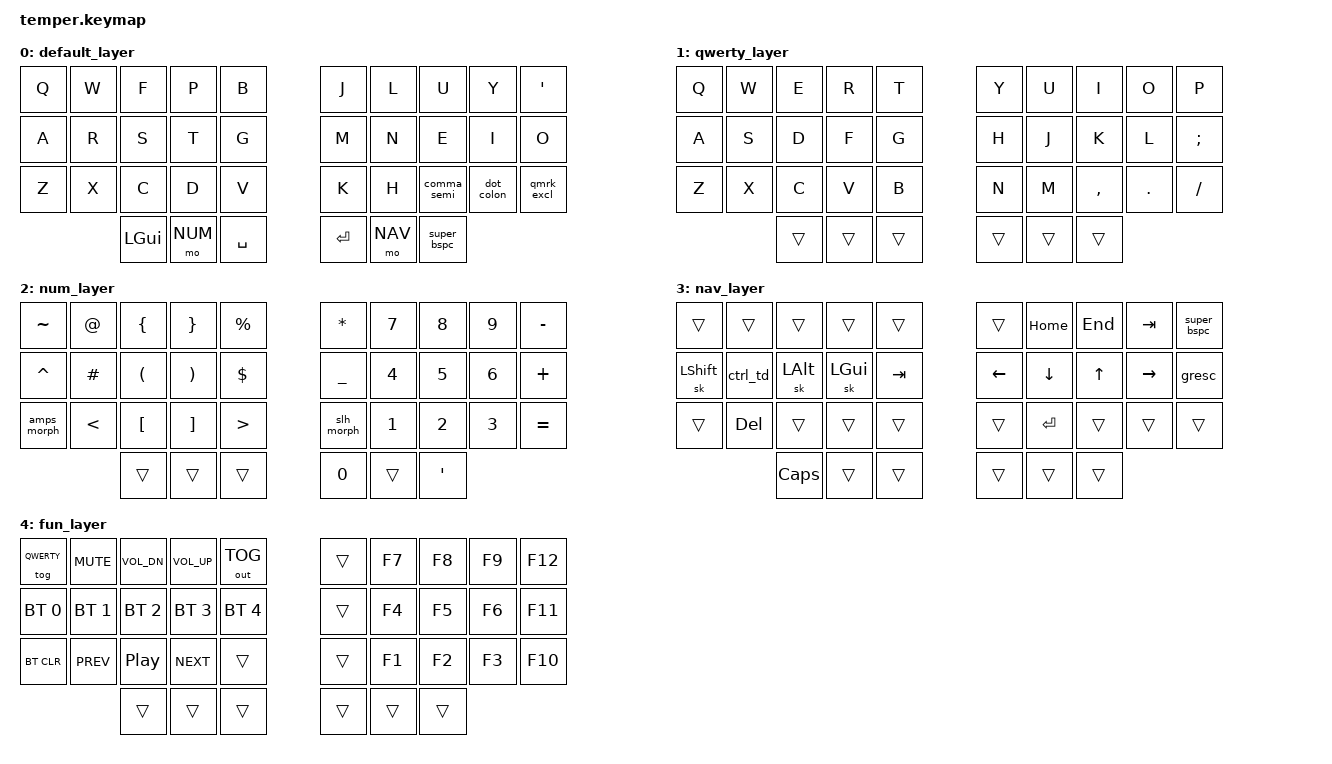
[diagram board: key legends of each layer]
/*
 * Copyright (c) 2020 The ZMK Contributors
 *
 * SPDX-License-Identifier: MIT
 */

#include <behaviors.dtsi>
#include <dt-bindings/zmk/keys.h>
#include <dt-bindings/zmk/bt.h>
#include <dt-bindings/zmk/outputs.h>

#define DEFAULT 0
#define QWERTY 1
#define NUM 2
#define NAV 3
#define FUN 4

/ {
    conditional_layers {
        compatible = "zmk,conditional-layers";
        tri_layer {
            if-layers = <NUM NAV>;
            then-layer = <FUN>;
        };
    };
    behaviors {
        bspc_del: backspace_delete {
            compatible = "zmk,behavior-mod-morph";
            #binding-cells = <0>;
            bindings = <&kp BACKSPACE>, <&kp DELETE>;
            mods = <(MOD_LSFT|MOD_RSFT)>;
            keep-mods = <(MOD_RSFT)>;
        };
        super_bspc: super_backspace {
            compatible = "zmk,behavior-mod-morph";
            #binding-cells = <0>;
            bindings = <&kp BACKSPACE>, <&kp LA(BACKSPACE)>;
            mods = <(MOD_LSFT|MOD_RSFT)>;
        };
        smart_shft: smart_shift {
            compatible = "zmk,behavior-mod-morph";
            #binding-cells = <0>;
            bindings = <&kp LSHFT>, <&caps_word>;
            mods = <(MOD_LSFT)>;
        };
        comma_semi: comma_semi {
            compatible = "zmk,behavior-mod-morph";
            #binding-cells = <0>;
            bindings = <&kp COMMA>, <&kp SEMI>;
            mods = <(MOD_LSFT)>;
        };
        dot_colon: dot_colon {
            compatible = "zmk,behavior-mod-morph";
            #binding-cells = <0>;
            bindings = <&kp DOT>, <&kp COLON>;
            mods = <(MOD_LSFT)>;
        };
        qmrk_excl: qmrk_excl {
            compatible = "zmk,behavior-mod-morph";
            #binding-cells = <0>;
            bindings = <&kp QMARK>, <&kp EXCL>;
            mods = <(MOD_LSFT)>;
        };
        slh_morph: slh_morph {
            compatible = "zmk,behavior-mod-morph";
            #binding-cells = <0>;
            bindings = <&kp FSLH>, <&kp BSLH>;
            mods = <(MOD_LSFT)>;
        };
        amps_morph: amps_morph {
            compatible = "zmk,behavior-mod-morph";
            #binding-cells = <0>;
            bindings = <&kp AMPS>, <&kp PIPE>;
            mods = <(MOD_LSFT)>;
        };
        ctrl_td: ctrl_tap_dance {
            compatible = "zmk,behavior-tap-dance";
            #binding-cells = <0>;
            tapping-term-ms = <200>;
            bindings = <&sk LCTRL>, <&kt LCTRL>;
        };
    };

    combos {
    compatible = "zmk,combos";

    combo_question {
        timeout-ms = <80>;
        key-positions = <34 35>;
        bindings = <&kp LC(BACKSPACE)>;
    };
};
        keymap {
                compatible = "zmk,keymap";

                default_layer {
                        bindings = <
// ╭─────────────┬─────────────┬─────────────┬─────────────┬─────────────╮   ╭─────────────┬─────────────┬─────────────┬─────────────┬─────────────╮
        &kp Q         &kp W         &kp F         &kp P         &kp B             &kp J         &kp L         &kp U         &kp Y       &kp APOS   
// ├─────────────┼─────────────┼─────────────┼─────────────┼─────────────┤   ├─────────────┼─────────────┼─────────────┼─────────────┼─────────────┤
        &kp A         &kp R         &kp S         &kp T         &kp G             &kp M         &kp N         &kp E         &kp I         &kp O
// ├─────────────┼─────────────┼─────────────┼─────────────┼─────────────┤   ├─────────────┼─────────────┼─────────────┼─────────────┼─────────────┤
        &kp Z         &kp X         &kp C         &kp D         &kp V             &kp K         &kp H      &comma_semi    &dot_colon    &qmrk_excl
// ╰─────────────┴─────────────┼─────────────┼─────────────┼─────────────┤   ├─────────────┼─────────────┼─────────────┼─────────────┴─────────────╯
                                   &kp LGUI      &mo NUM     &kp SPACE          &kp ENTER      &mo NAV     &super_bspc
//                             ╰─────────────┴─────────────┴─────────────╯   ╰─────────────┴─────────────┴─────────────╯
                        >;
                };
                qwerty_layer {
                        bindings = <
// ╭─────────────┬─────────────┬─────────────┬─────────────┬─────────────╮   ╭─────────────┬─────────────┬─────────────┬─────────────┬─────────────╮
        &kp Q         &kp W         &kp E         &kp R         &kp T              &kp Y        &kp U         &kp I         &kp O         &kp P   
// ├─────────────┼─────────────┼─────────────┼─────────────┼─────────────┤   ├─────────────┼─────────────┼─────────────┼─────────────┼─────────────┤
        &kp A         &kp S         &kp D         &kp F         &kp G              &kp H        &kp J         &kp K         &kp L       &kp SEMI
// ├─────────────┼─────────────┼─────────────┼─────────────┼─────────────┤   ├─────────────┼─────────────┼─────────────┼─────────────┼─────────────┤
        &kp Z         &kp X         &kp C         &kp V         &kp B              &kp N        &kp M       &kp COMMA      &kp DOT      &kp FSLH
// ╰─────────────┴─────────────┼─────────────┼─────────────┼─────────────┤   ├─────────────┼─────────────┼─────────────┼─────────────┴─────────────╯
                                    &trans        &trans        &trans             &trans       &trans        &trans
//                             ╰─────────────┴─────────────┴─────────────╯   ╰─────────────┴─────────────┴─────────────╯
                        >;
                };
                num_layer {
                        bindings = <
// ╭─────────────┬─────────────┬─────────────┬─────────────┬─────────────╮   ╭─────────────┬─────────────┬─────────────┬─────────────┬─────────────╮
      &kp TILDE       &kp AT       &kp LBRC      &kp RBRC     &kp PRCNT          &kp STAR       &kp N7        &kp N8        &kp N9      &kp MINUS
// ├─────────────┼─────────────┼─────────────┼─────────────┼─────────────┤   ├─────────────┼─────────────┼─────────────┼─────────────┼─────────────┤
      &kp CARET      &kp HASH      &kp LPAR      &kp RPAR      &kp DLLR         &kp UNDER       &kp N4        &kp N5        &kp N6      &kp PLUS
// ├─────────────┼─────────────┼─────────────┼─────────────┼─────────────┤   ├─────────────┼─────────────┼─────────────┼─────────────┼─────────────┤
      &amps_morph     &kp LT       &kp LBKT      &kp RBKT       &kp GT          &slh_morph      &kp N1        &kp N2        &kp N3      &kp EQUAL
// ╰─────────────┴─────────────┼─────────────┼─────────────┼─────────────┤   ├─────────────┼─────────────┼─────────────┼─────────────┴─────────────╯
                                    &trans        &trans        &trans            &kp N0        &trans        &kp APOS
//                             ╰─────────────┴─────────────┴─────────────╯   ╰─────────────┴─────────────┴─────────────╯
                        >;
                };

                nav_layer {
                        bindings = <
// ╭─────────────┬─────────────┬─────────────┬─────────────┬─────────────╮   ╭─────────────┬─────────────┬─────────────┬─────────────┬─────────────╮
        &trans        &trans        &trans        &trans        &trans            &trans       &kp HOME      &kp END       &kp TAB     &super_bspc
// ├─────────────┼─────────────┼─────────────┼─────────────┼─────────────┤   ├─────────────┼─────────────┼─────────────┼─────────────┼─────────────┤
      &sk LSHFT     &ctrl_td        &sk LALT      &sk LGUI      &kp TAB           &kp LEFT      &kp DOWN       &kp UP      &kp RIGHT       &gresc
// ├─────────────┼─────────────┼─────────────┼─────────────┼─────────────┤   ├─────────────┼─────────────┼─────────────┼─────────────┼─────────────┤
        &trans       &kp DEL        &trans        &trans        &trans            &trans        &kp RET       &trans        &trans        &trans
// ╰─────────────┴─────────────┼─────────────┼─────────────┼─────────────┤   ├─────────────┼─────────────┼─────────────┼─────────────┴─────────────╯
                                    &kp CAPS       &trans        &trans            &trans        &trans        &trans
//                             ╰─────────────┴─────────────┴─────────────╯   ╰─────────────┴─────────────┴─────────────╯
                        >;
                };

                fun_layer {
                        bindings = <
// ╭─────────────┬─────────────┬─────────────┬─────────────┬─────────────╮   ╭─────────────┬─────────────┬─────────────┬─────────────┬─────────────╮
     &tog QWERTY   &kp K_MUTE    &kp C_VOL_DN  &kp C_VOL_UP  &out OUT_TOG         &trans        &kp F7        &kp F8        &kp F9       &kp F12
// ├─────────────┼─────────────┼─────────────┼─────────────┼─────────────┤   ├─────────────┼─────────────┼─────────────┼─────────────┼─────────────┤
     &bt BT_SEL 0  &bt BT_SEL 1  &bt BT_SEL 2  &bt BT_SEL 3  &bt BT_SEL 4         &trans        &kp F4        &kp F5        &kp F6       &kp F11
// ├─────────────┼─────────────┼─────────────┼─────────────┼─────────────┤   ├─────────────┼─────────────┼─────────────┼─────────────┼─────────────┤
      &bt BT_CLR    &kp C_PREV     &kp C_PP     &kp C_NEXT      &trans            &trans        &kp F1        &kp F2        &kp F3       &kp F10
// ╰─────────────┴─────────────┼─────────────┼─────────────┼─────────────┤   ├─────────────┼─────────────┼─────────────┼─────────────┴─────────────╯
                                    &trans        &trans        &trans            &trans        &trans        &trans
//                             ╰─────────────┴─────────────┴─────────────╯   ╰─────────────┴─────────────┴─────────────╯
                        >;
                };
        };
};
